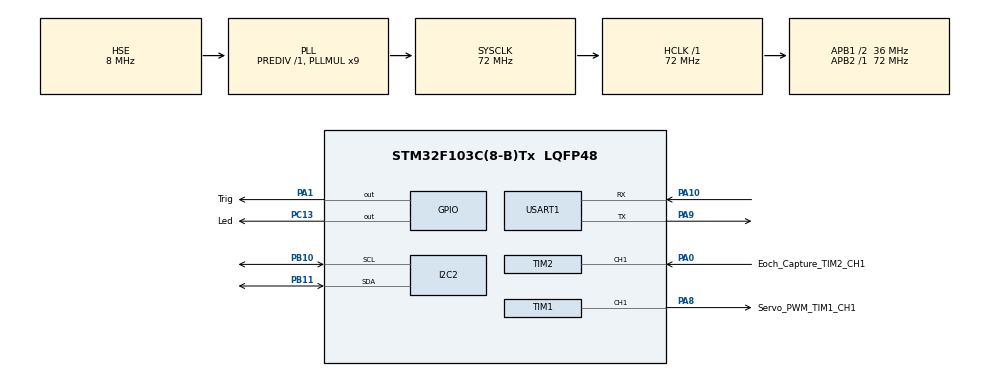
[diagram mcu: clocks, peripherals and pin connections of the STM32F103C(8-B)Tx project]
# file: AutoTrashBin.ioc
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FREERTOS.Tasks01=servoTask,24,128,StartServoTask,Default,NULL,Dynamic,NULL,NULL;ultrasonicTask,24,128,StartUltrasonicTask,Default,NULL,Dynamic,NULL,NULL;oledDSTask,16,256,StartOledTask,Default,NULL,Dynamic,NULL,NULL
FREERTOS.configTOTAL_HEAP_SIZE=4096
Mcu.Family=STM32F1
Mcu.Name=STM32F103C(8-B)Tx
Mcu.Package=LQFP48
NVIC.PriorityGroup=NVIC_PRIORITYGROUP_4
NVIC.TIM2_IRQn=true\:5\:0\:false\:false\:true\:true\:true\:true\:true
NVIC.TIM4_IRQn=true\:15\:0\:false\:false\:true\:false\:false\:true\:true
NVIC.TimeBase=TIM4_IRQn
NVIC.TimeBaseIP=TIM4
PA0-WKUP.GPIO_Label=Eoch_Capture_TIM2_CH1
PA0-WKUP.Signal=S_TIM2_CH1_ETR
PA1.GPIO_Label=Trig
PA1.Signal=GPIO_Output
PA10.Mode=Asynchronous
PA10.Signal=USART1_RX
PA13.Mode=Serial_Wire
PA13.Signal=SYS_JTMS-SWDIO
PA14.Mode=Serial_Wire
PA14.Signal=SYS_JTCK-SWCLK
PA8.GPIO_Label=Servo_PWM_TIM1_CH1
PA8.Signal=S_TIM1_CH1
PA9.Mode=Asynchronous
PA9.Signal=USART1_TX
PB10.Mode=I2C
PB10.Signal=I2C2_SCL
PB11.Mode=I2C
PB11.Signal=I2C2_SDA
PC13-TAMPER-RTC.GPIO_Label=Led
PC13-TAMPER-RTC.Signal=GPIO_Output
PC14-OSC32_IN.Mode=LSE-External-Oscillator
PC14-OSC32_IN.Signal=RCC_OSC32_IN
PC15-OSC32_OUT.Mode=LSE-External-Oscillator
PC15-OSC32_OUT.Signal=RCC_OSC32_OUT
PD0-OSC_IN.Mode=HSE-External-Oscillator
PD0-OSC_IN.Signal=RCC_OSC_IN
PD1-OSC_OUT.Mode=HSE-External-Oscillator
PD1-OSC_OUT.Signal=RCC_OSC_OUT
ProjectManager.HeapSize=0x200
ProjectManager.StackSize=0x400
ProjectManager.TargetToolchain=MDK-ARM V5.32
RCC.AHBFreq_Value=72000000
RCC.APB1CLKDivider=RCC_HCLK_DIV2
RCC.APB1Freq_Value=36000000
RCC.APB1TimFreq_Value=72000000
RCC.APB2Freq_Value=72000000
RCC.APB2TimFreq_Value=72000000
RCC.HCLKFreq_Value=72000000
RCC.PLLMUL=RCC_PLL_MUL9
RCC.PLLSourceVirtual=RCC_PLLSOURCE_HSE
RCC.SYSCLKFreq_VALUE=72000000
RCC.SYSCLKSource=RCC_SYSCLKSOURCE_PLLCLK
RCC.USBFreq_Value=72000000
SH.S_TIM1_CH1.0=TIM1_CH1,PWM Generation1 CH1
SH.S_TIM2_CH1_ETR.0=TIM2_CH1,Input_Capture1_from_TI1
TIM1.AutoReloadPreload=TIM_AUTORELOAD_PRELOAD_ENABLE
TIM1.Channel-PWM\ Generation1\ CH1=TIM_CHANNEL_1
TIM1.Period=200-1
TIM1.Prescaler=7200-1
TIM2.Channel-Input_Capture1_from_TI1=TIM_CHANNEL_1
TIM2.Channel-Input_Capture2_from_TI1_63=TIM_CHANNEL_2
TIM2.ICPolarity_CH2=TIM_INPUTCHANNELPOLARITY_FALLING
TIM2.Prescaler=72-1
USART1.VirtualMode=VM_ASYNC
VP_FREERTOS_VS_CMSIS_V2.Mode=CMSIS_V2
VP_SYS_VS_tim4.Mode=TIM4
VP_TIM1_VS_ClockSourceINT.Mode=Internal
VP_TIM2_VS_ClockSourceINT.Mode=Internal
VP_TIM2_VS_indirect_ch1.Mode=Input_Capture2_from_TI1_63
board=custom

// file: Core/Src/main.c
/* USER CODE BEGIN Header */
/**
 ******************************************************************************
 * @file           : main.c
 * @brief          : Main program body
 ******************************************************************************
 * @attention
 *
 * Copyright (c) 2026 STMicroelectronics.
 * All rights reserved.
 *
 * This software is licensed under terms that can be found in the LICENSE file
 * in the root directory of this software component.
 * If no LICENSE file comes with this software, it is provided AS-IS.
 *
 ******************************************************************************
 */
/* USER CODE END Header */
#include "main.h"
#include "cmsis_os.h"
#include "i2c.h"
#include "tim.h"
#include "usart.h"
#include "gpio.h"

/* USER CODE BEGIN Includes */
#include <stdio.h>
#include <string.h>

/* USER CODE END Includes */

void SystemClock_Config(void);
void MX_FREERTOS_Init(void);

int main(void)
{

  /* MCU Configuration--------------------------------------------------------*/

  /* Reset of all peripherals, Initializes the Flash interface and the Systick. */
  HAL_Init();

  /* Configure the system clock */
  SystemClock_Config();

  /* Initialize all configured peripherals */
  MX_GPIO_Init();
  MX_TIM1_Init();
  MX_TIM2_Init();
  MX_USART1_UART_Init();
  MX_I2C2_Init();
  /* USER CODE BEGIN 2 */
	// 启动 PWM 输出
  HAL_TIM_PWM_Start(&htim1, TIM_CHANNEL_1);
	// 启动定时器输入捕获
  HAL_TIM_IC_Start(&htim2, TIM_CHANNEL_1);
  HAL_TIM_IC_Start_IT(&htim2, TIM_CHANNEL_2);
  /* USER CODE END 2 */

  /* Init scheduler */
  osKernelInitialize();  /* Call init function for freertos objects (in cmsis_os2.c) */
  MX_FREERTOS_Init();

  /* Start scheduler */
  osKernelStart();

  /* We should never get here as control is now taken by the scheduler */

  /* Infinite loop */
  /* USER CODE BEGIN WHILE */
  while (1)
  {
//    HAL_GPIO_TogglePin(Led_GPIO_Port, Led_Pin);
//    OLED_ShowCHinese_Array(2, 0, 1, 5, title);
//    HAL_GPIO_WritePin(Trig_GPIO_Port, Trig_Pin, GPIO_PIN_SET);
//    HAL_Delay(1); // 延时了1ms
//    HAL_GPIO_WritePin(Trig_GPIO_Port, Trig_Pin, GPIO_PIN_RESET);
//    __HAL_TIM_SET_COUNTER(&htim2, 0);
//    HAL_Delay(50);
//    distance_filtered = klm(distance);
//    sprintf(message, "dis:%f,%f\r\n", distance, distance_filtered);
//    sprintf(buf, "dis:%3.1fcm", distance);
//    OLED_ShowString(0, 2, buf, 16, 0);
//    HAL_UART_Transmit(&huart1, (uint8_t *)message, strlen(message), 200);
//    if (distance <= 5.0)
//    {
//      OLED_ShowString(0, 4, "State:Opening", 16, 0);
//      // x,y,state,num,array
//      OLED_ShowCHinese_Array(40, 6, 1, 2, open); // 从第20列开始显示
//      set_degree(90);
//      //sprintf(message, "distance low\r\n");
//      // HAL_UART_Transmit(&huart1, (uint8_t *)message, strlen(message), 200);
//    }
//    else
//    {
//      OLED_ShowString(0, 4, "State:Closed ", 16, 0);
//      OLED_ShowCHinese_Array(40, 6, 1, 2, close);
//      // OLED_ShowCHinese(56 - 16, 6, 2, 1);
//      // OLED_ShowCHinese(56, 6, 3, 1);
//      //sprintf(message, "distance high\r\n");
//      // HAL_UART_Transmit(&huart1, (uint8_t *)message, strlen(message), 200);
//      set_degree(0);
//    }
    // x,y,index,0/1

    /* USER CODE END WHILE */

  }
}

void SystemClock_Config(void)
{
  RCC_OscInitTypeDef RCC_OscInitStruct = {0};
  RCC_ClkInitTypeDef RCC_ClkInitStruct = {0};

  /** Initializes the RCC Oscillators according to the specified parameters
  * in the RCC_OscInitTypeDef structure.
  */
  RCC_OscInitStruct.OscillatorType = RCC_OSCILLATORTYPE_HSE;
  RCC_OscInitStruct.HSEState = RCC_HSE_ON;
  RCC_OscInitStruct.HSEPredivValue = RCC_HSE_PREDIV_DIV1;
  RCC_OscInitStruct.HSIState = RCC_HSI_ON;
  RCC_OscInitStruct.PLL.PLLState = RCC_PLL_ON;
  RCC_OscInitStruct.PLL.PLLSource = RCC_PLLSOURCE_HSE;
  RCC_OscInitStruct.PLL.PLLMUL = RCC_PLL_MUL9;
  if (HAL_RCC_OscConfig(&RCC_OscInitStruct) != HAL_OK)
  {
    Error_Handler();
  }

  /** Initializes the CPU, AHB and APB buses clocks
  */
  RCC_ClkInitStruct.ClockType = RCC_CLOCKTYPE_HCLK|RCC_CLOCKTYPE_SYSCLK
                              |RCC_CLOCKTYPE_PCLK1|RCC_CLOCKTYPE_PCLK2;
  RCC_ClkInitStruct.SYSCLKSource = RCC_SYSCLKSOURCE_PLLCLK;
  RCC_ClkInitStruct.AHBCLKDivider = RCC_SYSCLK_DIV1;
  RCC_ClkInitStruct.APB1CLKDivider = RCC_HCLK_DIV2;
  RCC_ClkInitStruct.APB2CLKDivider = RCC_HCLK_DIV1;

  if (HAL_RCC_ClockConfig(&RCC_ClkInitStruct, FLASH_LATENCY_2) != HAL_OK)
  {
    Error_Handler();
  }
}

void HAL_TIM_PeriodElapsedCallback(TIM_HandleTypeDef *htim)
{
  if (htim->Instance == TIM4)
  {
    HAL_IncTick();
  }
}

void Error_Handler(void)
{
  __disable_irq();
  while (1)
  {
  }
}

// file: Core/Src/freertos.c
/* USER CODE BEGIN Header */
/**
 ******************************************************************************
 * File Name          : freertos.c
 * Description        : Code for freertos applications
 ******************************************************************************
 * @attention
 *
 * Copyright (c) 2026 STMicroelectronics.
 * All rights reserved.
 *
 * This software is licensed under terms that can be found in the LICENSE file
 * in the root directory of this software component.
 * If no LICENSE file comes with this software, it is provided AS-IS.
 *
 ******************************************************************************
 */
/* USER CODE END Header */

#include "FreeRTOS.h"
#include "task.h"
#include "main.h"
#include "cmsis_os.h"

/* USER CODE BEGIN Includes */
#include <stdio.h>
#include <string.h>
#include "oled.h"
#include "servo.h"
#include "kalman_1d_filter.h"
#include "hcsr04.h"
/* USER CODE END Includes */

/* USER CODE BEGIN Variables */
// 共享变量：用于任务间通信
volatile float g_distance_filtered = 0.0;
volatile uint8_t g_lid_state = 0; // 0=关闭, 1=打开
volatile uint32_t g_lid_open_time = 0; // 开盖时间戳
/* USER CODE END Variables */
/* Definitions for servoTask */
osThreadId_t servoTaskHandle;
const osThreadAttr_t servoTask_attributes = {
    .name = "servoTask",
    .stack_size = 128 * 4,
    .priority = (osPriority_t)osPriorityNormal,
};
/* Definitions for ultrasonicTask */
osThreadId_t ultrasonicTaskHandle;
const osThreadAttr_t ultrasonicTask_attributes = {
    .name = "ultrasonicTask",
    .stack_size = 128 * 4,
    .priority = (osPriority_t)osPriorityNormal,
};
/* Definitions for oledDSTask */
osThreadId_t oledDSTaskHandle;
const osThreadAttr_t oledDSTask_attributes = {
    .name = "oledDSTask",
    .stack_size = 256 * 4,
    .priority = (osPriority_t)osPriorityNormal,  // 改为 Normal，和超声波任务同级
};

void StartServoTask(void *argument);
void StartUltrasonicTask(void *argument);
void StartOledTask(void *argument);

void MX_FREERTOS_Init(void); /* (MISRA C 2004 rule 8.1) */

void MX_FREERTOS_Init(void)
{

  /* Create the thread(s) */
  /* creation of servoTask */
  servoTaskHandle = osThreadNew(StartServoTask, NULL, &servoTask_attributes);

  /* creation of ultrasonicTask */
  ultrasonicTaskHandle = osThreadNew(StartUltrasonicTask, NULL, &ultrasonicTask_attributes);

  /* creation of oledDSTask */
  oledDSTaskHandle = osThreadNew(StartOledTask, NULL, &oledDSTask_attributes);

}

void StartServoTask(void *argument)
{
  /* USER CODE BEGIN StartServoTask */
  // PWM 已在 main.c 中启动，初始化舵机位置
  set_degree(0);

  /* Infinite loop */
  for (;;)
  {
    // 舵机任务暂时空闲，当前由超声波任务直接控制
    // TODO: uart命令/按键中断队列
    osDelay(1000);
  }
  /* USER CODE END StartServoTask */
}

void StartUltrasonicTask(void *argument)
{
  /* USER CODE BEGIN StartUltrasonicTask */
  float distance_raw = 0.0;
  float distance_filtered = 0.0;
  static uint8_t lidIsOpen = 0;

  // 定时器输入捕获已在 main.c 中启动

  /* Infinite loop */
  for (;;)
  {
    // 1. 触发超声波测距
    HCSR04_Trigger();

    // 2. 等待测距完成（超声波最大测距时间约 38ms）
    osDelay(60);

    // 3. 获取原始距离
    distance_raw = HCSR04_GetDistance();

    // 4. 只有数据有效时才处理
    if (distance_raw > 0) {
      // 卡尔曼滤波（用于控制逻辑和显示）
      distance_filtered = Kalman_Filter(distance_raw);

      // 更新共享变量（OLED 显示滤波值）
      g_distance_filtered = distance_filtered;

      // 5. 控制逻辑 小于5cm
      if (distance_filtered < 5.0 && !lidIsOpen)
      {
        // 检测到人靠近，开盖
        set_degree(90);
        lidIsOpen = 1;
        g_lid_state = 1;
        g_lid_open_time = osKernelGetTickCount();
      }
      else if (lidIsOpen && (osKernelGetTickCount() - g_lid_open_time > 3000))
      {
        // 保持 3 秒后关盖
        set_degree(0);
        lidIsOpen = 0;
        g_lid_state = 0;
      }
			//fix: 修复上一版人离开后不能关盖的bug
      else if (lidIsOpen && distance_filtered < 5.0)
      {
        // 如果开盖期间又检测到人，重置计时
        g_lid_open_time = osKernelGetTickCount();
      }
    }
    // 6. 延时 100ms 后继续下一次测距
    osDelay(100);
  }
  /* USER CODE END StartUltrasonicTask */
}

void StartOledTask(void *argument)
{
  /* USER CODE BEGIN StartOledTask */
  char buf[30];
  float distance_copy = 0.0;
  uint8_t lid_state_copy = 0;
  // 使用 UTF-8 字节数组定义中文字符串（不知道为啥中文编译Error，这里改为编码）
  const char title[] = "\xE6\x99\xBA\xE8\x83\xBD\xE5\x9E\x83\xE5\x9C\xBE\xE6\xA1\xB6RTOS"; // "智能垃圾桶"
  const char state_open[] = "\xE7\x8A\xB6\xE6\x80\x81:\xE5\xBC\x80\xE7\x9B\x96"; // "状态:开盖"
  const char state_close[] = "\xE7\x8A\xB6\xE6\x80\x81:\xE5\x85\xB3\xE9\x97\xAD"; // "状态:关闭"
	const char * message = "\xE7\xA7\x92\xE5\x90\x8E\xE5\x85\xB3\xE9\x97\xAD\xE7\x9B\x96"; //秒后关闭盖
  osDelay(20);
  OLED_Init();

  /* Infinite loop */
  for (;;)
  {
    // 读取共享变量（简单读取，无需互斥锁）
    distance_copy = g_distance_filtered;
    lid_state_copy = g_lid_state;

    OLED_NewFrame();

    // 第1行：标题
    OLED_PrintString(0, 0, (char*)title, &font16x16, OLED_COLOR_NORMAL);

    // 第2行：距离信息
    sprintf(buf, "Dis:%.1fcm", distance_copy);
    OLED_PrintASCIIString(0, 16, buf, &afont16x8, OLED_COLOR_NORMAL);

    // 第3行：状态信息
    if (lid_state_copy == 1) {
      OLED_PrintString(0, 32, (char*)state_open, &font16x16, OLED_COLOR_NORMAL);
			// 第4行：显示还有*秒后关闭
			uint32_t elapsed = (osKernelGetTickCount() - g_lid_open_time) / 1000;
			uint8_t remain = (elapsed < 3) ? (3 - elapsed) : 0;
			sprintf(buf, "%d%s", remain, message);
			OLED_PrintString(0, 48, buf, &font16x16, OLED_COLOR_NORMAL);
    } else {
      OLED_PrintString(0, 32, (char*)state_close, &font16x16, OLED_COLOR_NORMAL);
    }

    OLED_ShowFrame();

    osDelay(100);  // 100ms 刷新一次，更快响应
  }
  /* USER CODE END StartOledTask */
}
